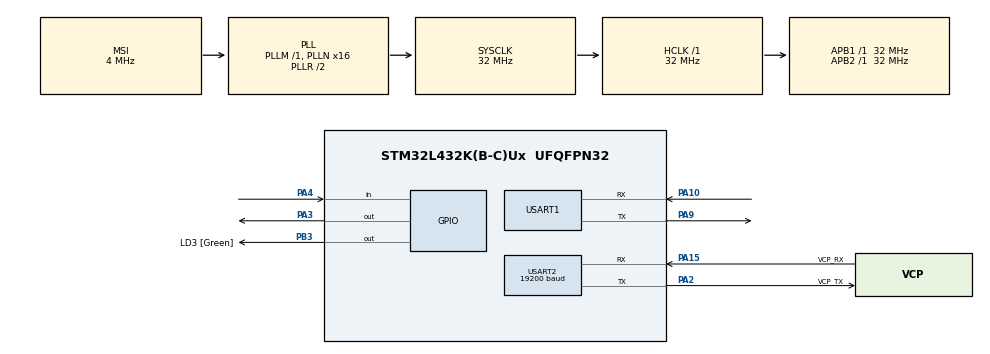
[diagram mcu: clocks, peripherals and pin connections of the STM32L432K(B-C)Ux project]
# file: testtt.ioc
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Mcu.Family=STM32L4
Mcu.Name=STM32L432K(B-C)Ux
Mcu.Package=UFQFPN32
NVIC.PriorityGroup=NVIC_PRIORITYGROUP_4
NVIC.USART1_IRQn=true\:0\:0\:false\:false\:true\:true\:true\:true
PA0.GPIO_Label=MCO [High speed clock in]
PA0.Mode=HSE-External-Clock-Source-for-LittleOrca
PA0.Signal=RCC_CK_IN
PA10.Mode=Asynchronous
PA10.Signal=USART1_RX
PA13\ (JTMS-SWDIO).GPIO_Label=SWDIO
PA13\ (JTMS-SWDIO).Mode=Serial_Wire
PA13\ (JTMS-SWDIO).Signal=SYS_JTMS-SWDIO
PA14\ (JTCK-SWCLK).GPIO_Label=SWCLK
PA14\ (JTCK-SWCLK).Mode=Serial_Wire
PA14\ (JTCK-SWCLK).Signal=SYS_JTCK-SWCLK
PA15\ (JTDI).GPIO_Label=VCP_RX
PA15\ (JTDI).Mode=Asynchronous
PA15\ (JTDI).Signal=USART2_RX
PA2.GPIO_Label=VCP_TX
PA2.Mode=Asynchronous
PA2.Signal=USART2_TX
PA3.Signal=GPIO_Output
PA4.Signal=GPIO_Input
PA9.Mode=Asynchronous
PA9.Signal=USART1_TX
PB3\ (JTDO-TRACESWO).GPIO_Label=LD3 [Green]
PB3\ (JTDO-TRACESWO).Signal=GPIO_Output
PC14-OSC32_IN\ (PC14).Mode=LSE-External-Oscillator
PC14-OSC32_IN\ (PC14).Signal=RCC_OSC32_IN
PC15-OSC32_OUT\ (PC15).Mode=LSE-External-Oscillator
PC15-OSC32_OUT\ (PC15).Signal=RCC_OSC32_OUT
ProjectManager.HeapSize=0x200
ProjectManager.StackSize=0x400
ProjectManager.TargetToolchain=STM32CubeIDE
RCC.AHBFreq_Value=32000000
RCC.APB1Freq_Value=32000000
RCC.APB1TimFreq_Value=32000000
RCC.APB2Freq_Value=32000000
RCC.APB2TimFreq_Value=32000000
RCC.CortexFreq_Value=32000000
RCC.HCLKFreq_Value=32000000
RCC.HSE_VALUE=8000000
RCC.HSI16_VALUE=16000000
RCC.HSI48_VALUE=48000000
RCC.HSI_VALUE=16000000
RCC.MSI_VALUE=4000000
RCC.PLLMUL=RCC_PLLMUL_4
RCC.PLLN=16
RCC.SYSCLKFreq_VALUE=32000000
RCC.SYSCLKSource=RCC_SYSCLKSOURCE_PLLCLK
RCC.VCOOutputFreq_Value=64000000
TIM1.Prescaler=31
USART1.VirtualMode-Asynchronous=VM_ASYNC
USART2.BaudRate=19200
USART2.VirtualMode-Asynchronous=VM_ASYNC
VP_TIM1_VS_ClockSourceINT.Mode=Internal
board=NUCLEO-L432KC

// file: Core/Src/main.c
/* USER CODE BEGIN Header */
/**
  ******************************************************************************
  * @file           : main.c
  * @brief          : Main program body
  ******************************************************************************
  * @attention
  *
  * Copyright (c) 2023 STMicroelectronics.
  * All rights reserved.
  *
  * This software is licensed under terms that can be found in the LICENSE file
  * in the root directory of this software component.
  * If no LICENSE file comes with this software, it is provided AS-IS.
  *
  ******************************************************************************
  */
/* USER CODE END Header */
#include "main.h"

/* USER CODE BEGIN Includes */
#include <math.h>
#include "stdio.h"
/* USER CODE END Includes */

TIM_HandleTypeDef htim1;

UART_HandleTypeDef huart1;
UART_HandleTypeDef huart2;

void SystemClock_Config(void);
static void MX_GPIO_Init(void);
static void MX_USART2_UART_Init(void);
static void MX_USART1_UART_Init(void);
static void MX_TIM1_Init(void);

/* USER CODE BEGIN 0 */
uint8_t data[95][160];
uint8_t right = 0xCA;
uint8_t left = 0xC2;
uint8_t speed = 0x20;
uint8_t zerospeed = 0x00;
/* USER CODE END 0 */

int main(void)
{

  /* MCU Configuration--------------------------------------------------------*/

  /* Reset of all peripherals, Initializes the Flash interface and the Systick. */
  HAL_Init();

  /* Configure the system clock */
  SystemClock_Config();

  /* Initialize all configured peripherals */
  MX_GPIO_Init();
  MX_USART2_UART_Init();
  MX_USART1_UART_Init();
  MX_TIM1_Init();
  /* USER CODE BEGIN 2 */
//  __HAL_UART_ENABLE_IT(&huart1, UART_IT_RXNE);
  /* USER CODE END 2 */

  /* Infinite loop */
  /* USER CODE BEGIN WHILE */
  HAL_TIM_Base_Start(&htim1);
  HAL_GPIO_WritePin(GPIOA, GPIO_PIN_3, GPIO_PIN_RESET);
  HAL_Delay(100);
  uint32_t distance;
  while (1)
  {
	  char c='c';

	  	uint8_t image2[95][160];
	  	HAL_UART_Transmit(&huart1,(uint8_t*) &c, 1, HAL_MAX_DELAY);
	  	for (int i  = 0; i < 95; i++)
	  	{
	//  		if (i == 94)
	//  		{
	//  			HAL_UART_Receive(&huart1, data[i], 159, HAL_MAX_DELAY);
	//  		}
	  		HAL_UART_Receive(&huart1, data[i], 160, HAL_MAX_DELAY);

//	  		if (i ==0 || i == 30 || i ==60)
//	  		{
//
//	  		}

	  	}

	//  	HAL_UART_Receive(&huart1, *data, 100, HAL_MAX_DELAY);

	     for (int i = 0; i < 95; i++)
	     {
	       for (int j = 0; j < 160; j++)
	       {
	         if (i == 0 || i == 94 || j == 0 || j == 159)
	         {
	           image2[i][j] = (uint8_t) 0;
	         }
	         else
	         {
	           int gradientX = data[i][j + 1] - data[i][j - 1];
	           int gradientY = data[i + 1][j] - data[i - 1][j];

	           int cl= gradientX * gradientX + gradientY  * gradientY;
	           float gradient =  sqrt(cl);
	           // Serial.printf("%f\n", gradient);
	           uint8_t gr = (uint8_t) gradient;
	           image2[i][j] = gr;
	         }
	       }
	     }
	     distance = 0;

	     while(distance <50)
	     {
	    	 HAL_GPIO_WritePin(GPIOA, GPIO_PIN_3, GPIO_PIN_SET);
			//create 10?S delay by setting the TIM Counter Register value to 0
				__HAL_TIM_SET_COUNTER(&htim1, 0);
				while (__HAL_TIM_GET_COUNTER(&htim1)!= 10) {};
			// pull TRIG low
					HAL_GPIO_WritePin(GPIOA, GPIO_PIN_3, GPIO_PIN_RESET);

				while(HAL_GPIO_ReadPin(GPIOA, GPIO_PIN_4) == GPIO_PIN_RESET){
					if (__HAL_TIM_GET_COUNTER(&htim1) > 45000)
					{
						continue;
					}
				}
					uint32_t first = __HAL_TIM_GET_COUNTER(&htim1);
					while(HAL_GPIO_ReadPin(GPIOA, GPIO_PIN_4) == GPIO_PIN_SET){
						if (__HAL_TIM_GET_COUNTER(&htim1) > 45000)
						{
							continue;
						}
					}
					uint32_t second = __HAL_TIM_GET_COUNTER(&htim1);
					distance = (second - first)/58;

					int sendDistance = distance;
					if (distance < 50)
					{
						HAL_UART_Transmit(&huart2, &right, sizeof(uint8_t), 3000);
						HAL_UART_Transmit(&huart2, &zerospeed, sizeof(uint8_t), 3000);
						HAL_UART_Transmit(&huart2, &left, sizeof(uint8_t), 3000);
						HAL_UART_Transmit(&huart2, &zerospeed, sizeof(uint8_t), 3000);
						HAL_Delay(1000);
					}
	     }

		 uint8_t leftFlag = 0, rightFlag = 0, leftNumber = 0, rightNumber= 0;
		 for (int i = 94; i >=30; i--)
		 {
		   int yindexLeft = -0.4 * i + 90;
		   int yindexRight = 0.4 * i + 85;

		   if (!leftFlag && image2[i][yindexLeft] >= 100)
		   {
			 leftFlag = 1;
			 leftNumber = i;
		   }
		   if (!rightFlag && image2[i][yindexRight] >= 100)
		   {
			 rightFlag = 1;
			 rightNumber = i;
		   }
		 }
//		 char send[50];
//		 char send2[50];
//		 char send3[50];
//		 	 for (int i = 0; i< 50; i++)
//		 		 send[i]=0;
//		 for (int i = 0; i< 50; i++)
//			 send3[i]=0;
//		 for (int i = 0; i< 50; i++)
//		 		 send2[i]=0;
//		 if (leftFlag)
//		 sprintf(send, "turn Right\r\n");
//		 else sprintf(send, "dont turn Right\r\n");
//		 if (rightFlag)
//			 sprintf(send2, "turn left\r\n");
//		 else sprintf(send2, "dont turn left\r\n");
//
//		 sprintf(send3, "Left value: %d\nRight value: %d\r\n", leftNumber, rightNumber);

//		 uint8_t left, right;
//		 if (leftFlag)
//		 {
//
//		 }
		 if (rightNumber == 0)
		 {
			 rightNumber = 20;
		 } else if (rightNumber < 60)
		 {
			 rightNumber = 20 + (rightNumber - 30) /3;
		 } else
		 {
			 rightNumber = 20 + (rightNumber - 30) /4;
		 }
		 if (leftNumber == 0)
		 {
			 leftNumber = 20;
		 } else if (leftNumber < 60)
		 {
			 leftNumber = 20 + (leftNumber - 30) /3;
		 } else
		 {
			 leftNumber = 20 + (leftNumber - 30) /4;
		 }

		HAL_UART_Transmit(&huart2, &right, sizeof(uint8_t), 3000);
		HAL_UART_Transmit(&huart2, &rightNumber, sizeof(uint8_t), 3000);
		HAL_UART_Transmit(&huart2, &left, sizeof(uint8_t), 3000);
		HAL_UART_Transmit(&huart2, &leftNumber, sizeof(uint8_t), 3000);

	//	 for (int i  = 0; i < 95; i++)
	//	 {
	//		 for (int j = 0; j < 160; j++)
	//		 {
	//			 char sendd[4];
	//			 sprintf(sendd, "%*d", 4, data[i][j]);
	//			 HAL_UART_Transmit(&huart2,(uint8_t*) sendd , 4, HAL_MAX_DELAY);
	//		 }
	//	 }
//		 HAL_UART_Transmit(&huart2, send , 50, HAL_MAX_DELAY);
//		 HAL_UART_Transmit(&huart2, send2 , 50, HAL_MAX_DELAY);
//		 HAL_UART_Transmit(&huart2, send3 , 50, HAL_MAX_DELAY);
    /* USER CODE END WHILE */

    /* USER CODE BEGIN 3 */
  }
  uint8_t done = 'd';
      	HAL_UART_Transmit(&huart2, &done, 1, HAL_MAX_DELAY );
  /* USER CODE END 3 */
}

void SystemClock_Config(void)
{
  RCC_OscInitTypeDef RCC_OscInitStruct = {0};
  RCC_ClkInitTypeDef RCC_ClkInitStruct = {0};

  /** Configure the main internal regulator output voltage
  */
  if (HAL_PWREx_ControlVoltageScaling(PWR_REGULATOR_VOLTAGE_SCALE1) != HAL_OK)
  {
    Error_Handler();
  }

  /** Configure LSE Drive Capability
  */
  HAL_PWR_EnableBkUpAccess();
  __HAL_RCC_LSEDRIVE_CONFIG(RCC_LSEDRIVE_LOW);

  /** Initializes the RCC Oscillators according to the specified parameters
  * in the RCC_OscInitTypeDef structure.
  */
  RCC_OscInitStruct.OscillatorType = RCC_OSCILLATORTYPE_LSE|RCC_OSCILLATORTYPE_MSI;
  RCC_OscInitStruct.LSEState = RCC_LSE_ON;
  RCC_OscInitStruct.MSIState = RCC_MSI_ON;
  RCC_OscInitStruct.MSICalibrationValue = 0;
  RCC_OscInitStruct.MSIClockRange = RCC_MSIRANGE_6;
  RCC_OscInitStruct.PLL.PLLState = RCC_PLL_ON;
  RCC_OscInitStruct.PLL.PLLSource = RCC_PLLSOURCE_MSI;
  RCC_OscInitStruct.PLL.PLLM = 1;
  RCC_OscInitStruct.PLL.PLLN = 16;
  RCC_OscInitStruct.PLL.PLLP = RCC_PLLP_DIV7;
  RCC_OscInitStruct.PLL.PLLQ = RCC_PLLQ_DIV2;
  RCC_OscInitStruct.PLL.PLLR = RCC_PLLR_DIV2;
  if (HAL_RCC_OscConfig(&RCC_OscInitStruct) != HAL_OK)
  {
    Error_Handler();
  }

  /** Initializes the CPU, AHB and APB buses clocks
  */
  RCC_ClkInitStruct.ClockType = RCC_CLOCKTYPE_HCLK|RCC_CLOCKTYPE_SYSCLK
                              |RCC_CLOCKTYPE_PCLK1|RCC_CLOCKTYPE_PCLK2;
  RCC_ClkInitStruct.SYSCLKSource = RCC_SYSCLKSOURCE_PLLCLK;
  RCC_ClkInitStruct.AHBCLKDivider = RCC_SYSCLK_DIV1;
  RCC_ClkInitStruct.APB1CLKDivider = RCC_HCLK_DIV1;
  RCC_ClkInitStruct.APB2CLKDivider = RCC_HCLK_DIV1;

  if (HAL_RCC_ClockConfig(&RCC_ClkInitStruct, FLASH_LATENCY_1) != HAL_OK)
  {
    Error_Handler();
  }

  /** Enable MSI Auto calibration
  */
  HAL_RCCEx_EnableMSIPLLMode();
}

static void MX_TIM1_Init(void)
{

  TIM_ClockConfigTypeDef sClockSourceConfig = {0};
  TIM_MasterConfigTypeDef sMasterConfig = {0};

  htim1.Instance = TIM1;
  htim1.Init.Prescaler = 31;
  htim1.Init.CounterMode = TIM_COUNTERMODE_UP;
  htim1.Init.Period = 65535;
  htim1.Init.ClockDivision = TIM_CLOCKDIVISION_DIV1;
  htim1.Init.RepetitionCounter = 0;
  htim1.Init.AutoReloadPreload = TIM_AUTORELOAD_PRELOAD_DISABLE;
  if (HAL_TIM_Base_Init(&htim1) != HAL_OK)
  {
    Error_Handler();
  }
  sClockSourceConfig.ClockSource = TIM_CLOCKSOURCE_INTERNAL;
  if (HAL_TIM_ConfigClockSource(&htim1, &sClockSourceConfig) != HAL_OK)
  {
    Error_Handler();
  }
  sMasterConfig.MasterOutputTrigger = TIM_TRGO_RESET;
  sMasterConfig.MasterOutputTrigger2 = TIM_TRGO2_RESET;
  sMasterConfig.MasterSlaveMode = TIM_MASTERSLAVEMODE_DISABLE;
  if (HAL_TIMEx_MasterConfigSynchronization(&htim1, &sMasterConfig) != HAL_OK)
  {
    Error_Handler();
  }

}

static void MX_USART1_UART_Init(void)
{

  huart1.Instance = USART1;
  huart1.Init.BaudRate = 230400;
  huart1.Init.WordLength = UART_WORDLENGTH_8B;
  huart1.Init.StopBits = UART_STOPBITS_1;
  huart1.Init.Parity = UART_PARITY_NONE;
  huart1.Init.Mode = UART_MODE_TX_RX;
  huart1.Init.HwFlowCtl = UART_HWCONTROL_NONE;
  huart1.Init.OverSampling = UART_OVERSAMPLING_16;
  huart1.Init.OneBitSampling = UART_ONE_BIT_SAMPLE_DISABLE;
  huart1.AdvancedInit.AdvFeatureInit = UART_ADVFEATURE_NO_INIT;
  if (HAL_UART_Init(&huart1) != HAL_OK)
  {
    Error_Handler();
  }

}

static void MX_USART2_UART_Init(void)
{

  huart2.Instance = USART2;
  huart2.Init.BaudRate = 19200;
  huart2.Init.WordLength = UART_WORDLENGTH_8B;
  huart2.Init.StopBits = UART_STOPBITS_1;
  huart2.Init.Parity = UART_PARITY_NONE;
  huart2.Init.Mode = UART_MODE_TX_RX;
  huart2.Init.HwFlowCtl = UART_HWCONTROL_NONE;
  huart2.Init.OverSampling = UART_OVERSAMPLING_16;
  huart2.Init.OneBitSampling = UART_ONE_BIT_SAMPLE_DISABLE;
  huart2.AdvancedInit.AdvFeatureInit = UART_ADVFEATURE_NO_INIT;
  if (HAL_UART_Init(&huart2) != HAL_OK)
  {
    Error_Handler();
  }

}

static void MX_GPIO_Init(void)
{
  GPIO_InitTypeDef GPIO_InitStruct = {0};

  /* GPIO Ports Clock Enable */
  __HAL_RCC_GPIOC_CLK_ENABLE();
  __HAL_RCC_GPIOA_CLK_ENABLE();
  __HAL_RCC_GPIOB_CLK_ENABLE();

  /*Configure GPIO pin Output Level */
  HAL_GPIO_WritePin(GPIOA, GPIO_PIN_3, GPIO_PIN_RESET);

  /*Configure GPIO pin Output Level */
  HAL_GPIO_WritePin(LD3_GPIO_Port, LD3_Pin, GPIO_PIN_RESET);

  /*Configure GPIO pin : PA3 */
  GPIO_InitStruct.Pin = GPIO_PIN_3;
  GPIO_InitStruct.Mode = GPIO_MODE_OUTPUT_PP;
  GPIO_InitStruct.Pull = GPIO_NOPULL;
  GPIO_InitStruct.Speed = GPIO_SPEED_FREQ_LOW;
  HAL_GPIO_Init(GPIOA, &GPIO_InitStruct);

  /*Configure GPIO pin : PA4 */
  GPIO_InitStruct.Pin = GPIO_PIN_4;
  GPIO_InitStruct.Mode = GPIO_MODE_INPUT;
  GPIO_InitStruct.Pull = GPIO_NOPULL;
  HAL_GPIO_Init(GPIOA, &GPIO_InitStruct);

  /*Configure GPIO pin : LD3_Pin */
  GPIO_InitStruct.Pin = LD3_Pin;
  GPIO_InitStruct.Mode = GPIO_MODE_OUTPUT_PP;
  GPIO_InitStruct.Pull = GPIO_NOPULL;
  GPIO_InitStruct.Speed = GPIO_SPEED_FREQ_LOW;
  HAL_GPIO_Init(LD3_GPIO_Port, &GPIO_InitStruct);

}

void Error_Handler(void)
{
  __disable_irq();
  while (1)
  {
  }
}
